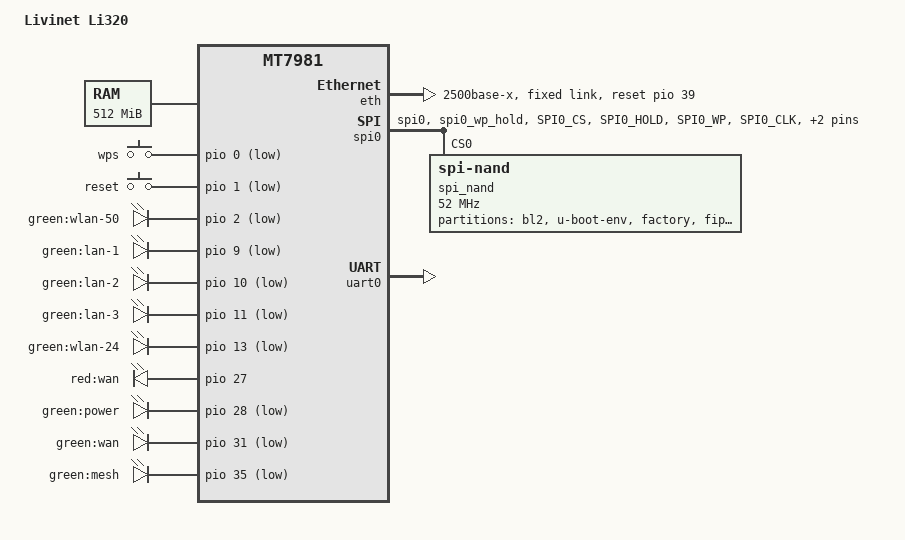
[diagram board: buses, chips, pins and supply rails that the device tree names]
// SPDX-License-Identifier: GPL-2.0-or-later

/dts-v1/;
#include "mt7981.dtsi"
#include <dt-bindings/gpio/gpio.h>
#include <dt-bindings/input/linux-event-codes.h>

/ {
	#address-cells = <1>;
	#size-cells = <1>;
	model = "Livinet Li320";
	compatible = "mediatek,mt7981", "mediatek,mt7981-rfb";

	chosen {
		stdout-path = &uart0;
		tick-timer = &timer0;
	};

	memory@40000000 {
		device_type = "memory";
		reg = <0x40000000 0x20000000>;
	};

	gpio-keys {
		compatible = "gpio-keys";

		button-wps {
			label = "wps";
			linux,code = <KEY_WPS_BUTTON>;
			gpios = <&pio 0 GPIO_ACTIVE_LOW>;
		};

		button-reset {
			label = "reset";
			linux,code = <KEY_RESTART>;
			gpios = <&pio 1 GPIO_ACTIVE_LOW>;
		};
	};

	gpio-leds {
		compatible = "gpio-leds";

		led-0 {
			label = "green:wlan-50";
			gpios = <&pio 2 GPIO_ACTIVE_LOW>;
			default-state = "off";
		};

		led-1 {
			label = "green:lan-1";
			gpios = <&pio 9 GPIO_ACTIVE_LOW>;
			default-state = "off";
		};

		led-2 {
			label = "green:lan-2";
			gpios = <&pio 10 GPIO_ACTIVE_LOW>;
			default-state = "off";
		};

		led-3 {
			label = "green:lan-3";
			gpios = <&pio 11 GPIO_ACTIVE_LOW>;
			default-state = "off";
		};

		led-4 {
			label = "green:wlan-24";
			gpios = <&pio 13 GPIO_ACTIVE_LOW>;
			default-state = "off";
		};

		led-5 {
			label = "red:wan";
			gpios = <&pio 27 GPIO_ACTIVE_HIGH>;
			default-state = "on";
		};

		running_led: led-6 {
			label = "green:power";
			gpios = <&pio 28 GPIO_ACTIVE_LOW>;
			default-state = "off";
		};

		led-7 {
			label = "green:wan";
			gpios = <&pio 31 GPIO_ACTIVE_LOW>;
			default-state = "off";
		};

		led-8 {
			label = "green:mesh";
			gpios = <&pio 35 GPIO_ACTIVE_LOW>;
			default-state = "off";
		};
	};
};

&eth {
	status = "okay";
	mediatek,gmac-id = <0>;
	phy-mode = "2500base-x";
	mediatek,switch = "mt7531";
	reset-gpios = <&pio 39 GPIO_ACTIVE_HIGH>;

	fixed-link {
		speed = <2500>;
		full-duplex;
	};
};

&pio {
	spi_flash_pins: spi0-pins-func-1 {
		mux {
			function = "flash";
			groups = "spi0", "spi0_wp_hold";
		};

		conf-pu {
			pins = "SPI0_CS", "SPI0_HOLD", "SPI0_WP";
			drive-strength = <MTK_DRIVE_8mA>;
			bias-pull-up = <MTK_PUPD_SET_R1R0_11>;
		};

		conf-pd {
			pins = "SPI0_CLK", "SPI0_MOSI", "SPI0_MISO";
			drive-strength = <MTK_DRIVE_8mA>;
			bias-pull-down = <MTK_PUPD_SET_R1R0_11>;
		};
	};
};

&spi0 {
	#address-cells = <1>;
	#size-cells = <0>;
	pinctrl-names = "default";
	pinctrl-0 = <&spi_flash_pins>;
	status = "okay";
	must_tx;
	enhance_timing;
	dma_ext;
	ipm_design;
	support_quad;
	tick_dly = <2>;
	sample_sel = <0>;

	spi_nand@0 {
		compatible = "spi-nand";
		reg = <0>;
		spi-max-frequency = <52000000>;

		partitions {
			compatible = "fixed-partitions";
			#address-cells = <1>;
			#size-cells = <1>;

			partition@0 {
				label = "bl2";
				reg = <0x0 0x100000>;
			};

			partition@100000 {
				label = "u-boot-env";
				reg = <0x100000 0x80000>;
			};

			partition@180000 {
				label = "factory";
				reg = <0x180000 0x200000>;
			};

			partition@380000 {
				label = "fip";
				reg = <0x380000 0x200000>;
			};

			partition@580000 {
				label = "ubi";
				reg = <0x580000 0x7280000>;
				compatible = "linux,ubi";
			};
		};
	};
};

&uart0 {
	mediatek,force-highspeed;
	status = "okay";
};

&watchdog {
	status = "disabled";
};
